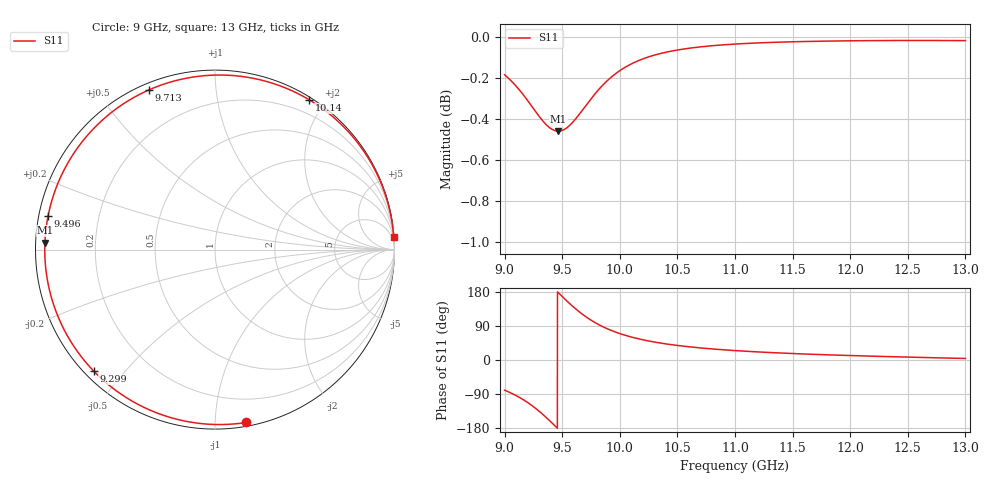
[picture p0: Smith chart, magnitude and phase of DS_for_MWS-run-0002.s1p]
! TOUCHSTONE file generated by CST DESIGN STUDIO
! Date and time: Wed Feb  5 13:37:15 2025
! Project name: C:\Work\MatlabApps\UnitCellOptimizationMatlab\CST\unitcell.cst
! Tree item: Tasks\Sweep1\SPara1\S-Parameters
! Header version: 2024
! Port assignment regex: !\s*Touchstone port\s*([0-9]+)\s*=\s*(CST MWS port|CST DES external port|CST DES block port)\s*(.+)\s* \(\"(.*)\"\)(\s*mode\s*([0-9]+))?.*
! Touchstone port assignment:
! Touchstone port 1 = CST DES external port 1 ("")
# GHz S MA R 50
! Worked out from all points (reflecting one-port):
!   4001 points, 9 GHz to 13 GHz, reference 50 ohm
!   lowest |S11| = -0.5 dB at 9.466 GHz (marker M1), VSWR 37.84, Z = 1.32 + j1.04 ohm
!   phase of S11 starts at -80 deg and turns -276 deg over the sweep
!   S11 on the Smith chart (normalised r, x): 9 GHz: 0.03, -1.20; 9.299 GHz: 0.03, -0.41; 9.496 GHz: 0.03, +0.10; 9.713 GHz: 0.03, +0.67; 10.14 GHz: 0.03, +1.81; 13 GHz: 1, +28
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9  0.9789 -79.7
9.073  0.9745 -89.7
9.169  0.9674 -106.0
9.236  0.9618 -119.9
9.299  0.9564 -135.0
9.343  0.9531 -146.6
9.389  0.9504 -159.6
9.428  0.949 -171.1
9.466  0.9485 177.6
9.496  0.9488 168.7
9.5  0.9489 167.5
9.551  0.9508 152.7
9.609  0.9545 137.0
9.66  0.9584 124.3
9.713  0.9628 112.5
9.77  0.9674 101.4
9.833  0.972 90.8
9.915  0.977 79.3
10  0.9811 69.7
10.136  0.986 57.8
10.3  0.9897 47.4
10.5  0.9926 38.4
10.722  0.9944 31.3
11  0.9959 24.8
11.5  0.9971 17.1
12  0.9977 11.7
12.5  0.9979 7.6
13  0.9978 4.0
